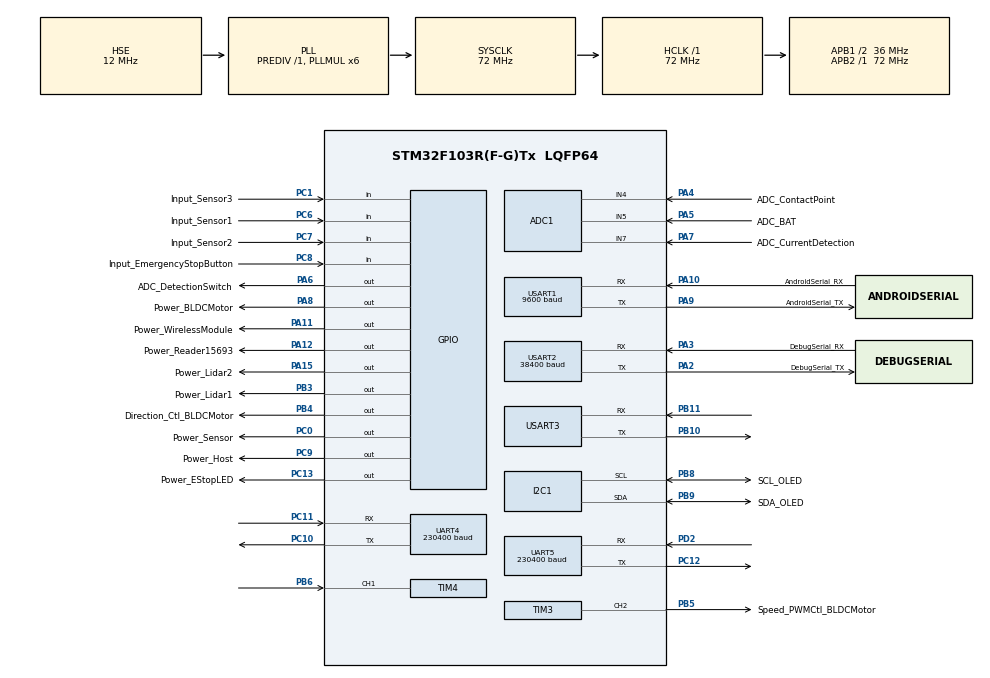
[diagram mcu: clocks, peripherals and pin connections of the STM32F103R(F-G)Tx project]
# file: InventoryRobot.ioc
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ADC1.Channel-1\#ChannelRegularConversion=ADC_CHANNEL_5
ADC1.NbrOfConversionFlag=1
ADC1.Rank-1\#ChannelRegularConversion=1
ADC1.SamplingTime-1\#ChannelRegularConversion=ADC_SAMPLETIME_1CYCLE_5
ADC1.master=1
Dma.Request0=USART1_RX
Dma.Request1=UART4_RX
Dma.Request2=USART2_RX
Dma.UART4_RX.1.Direction=DMA_PERIPH_TO_MEMORY
Dma.UART4_RX.1.Instance=DMA2_Channel3
Dma.UART4_RX.1.MemDataAlignment=DMA_MDATAALIGN_BYTE
Dma.UART4_RX.1.MemInc=DMA_MINC_ENABLE
Dma.UART4_RX.1.Mode=DMA_NORMAL
Dma.UART4_RX.1.PeriphDataAlignment=DMA_PDATAALIGN_BYTE
Dma.UART4_RX.1.PeriphInc=DMA_PINC_DISABLE
Dma.UART4_RX.1.Priority=DMA_PRIORITY_LOW
Dma.USART1_RX.0.Direction=DMA_PERIPH_TO_MEMORY
Dma.USART1_RX.0.Instance=DMA1_Channel5
Dma.USART1_RX.0.MemDataAlignment=DMA_MDATAALIGN_BYTE
Dma.USART1_RX.0.MemInc=DMA_MINC_ENABLE
Dma.USART1_RX.0.Mode=DMA_NORMAL
Dma.USART1_RX.0.PeriphDataAlignment=DMA_PDATAALIGN_BYTE
Dma.USART1_RX.0.PeriphInc=DMA_PINC_DISABLE
Dma.USART1_RX.0.Priority=DMA_PRIORITY_LOW
Dma.USART2_RX.2.Direction=DMA_PERIPH_TO_MEMORY
Dma.USART2_RX.2.Instance=DMA1_Channel6
Dma.USART2_RX.2.MemDataAlignment=DMA_MDATAALIGN_BYTE
Dma.USART2_RX.2.MemInc=DMA_MINC_ENABLE
Dma.USART2_RX.2.Mode=DMA_NORMAL
Dma.USART2_RX.2.PeriphDataAlignment=DMA_PDATAALIGN_BYTE
Dma.USART2_RX.2.PeriphInc=DMA_PINC_DISABLE
Dma.USART2_RX.2.Priority=DMA_PRIORITY_LOW
Mcu.Family=STM32F1
Mcu.Name=STM32F103R(F-G)Tx
Mcu.Package=LQFP64
NVIC.DMA1_Channel5_IRQn=true\:0\:0\:false\:false\:true\:false\:true\:true
NVIC.DMA1_Channel6_IRQn=true\:0\:0\:false\:false\:true\:false\:true\:true
NVIC.DMA2_Channel3_IRQn=true\:0\:0\:false\:false\:true\:false\:true\:true
NVIC.PriorityGroup=NVIC_PRIORITYGROUP_4
NVIC.TIM1_UP_TIM10_IRQn=true\:1\:0\:true\:false\:true\:true\:true\:true
NVIC.TIM3_IRQn=true\:0\:0\:false\:false\:true\:true\:true\:true
NVIC.TIM4_IRQn=true\:0\:0\:false\:false\:true\:true\:true\:true
NVIC.UART4_IRQn=true\:0\:0\:false\:false\:true\:true\:true\:true
NVIC.UART5_IRQn=true\:0\:0\:false\:false\:true\:true\:true\:true
NVIC.USART1_IRQn=true\:0\:0\:false\:false\:true\:true\:true\:true
NVIC.USART2_IRQn=true\:0\:0\:false\:false\:true\:true\:true\:true
NVIC.USART3_IRQn=true\:0\:0\:false\:false\:true\:true\:true\:true
PA10.GPIO_Label=AndroidSerial_RX
PA10.Mode=Asynchronous
PA10.Signal=USART1_RX
PA11.GPIO_Label=Power_WirelessModule
PA11.Signal=GPIO_Output
PA12.GPIO_Label=Power_Reader15693
PA12.PinState=GPIO_PIN_SET
PA12.Signal=GPIO_Output
PA13.Mode=Serial_Wire
PA13.Signal=SYS_JTMS-SWDIO
PA14.Mode=Serial_Wire
PA14.Signal=SYS_JTCK-SWCLK
PA15.GPIO_Label=Power_Lidar2
PA15.PinState=GPIO_PIN_SET
PA15.Signal=GPIO_Output
PA2.GPIO_Label=DebugSerial_TX
PA2.Mode=Asynchronous
PA2.Signal=USART2_TX
PA3.GPIO_Label=DebugSerial_RX
PA3.Mode=Asynchronous
PA3.Signal=USART2_RX
PA4.GPIO_Label=ADC_ContactPoint
PA4.Signal=ADCx_IN4
PA5.GPIO_Label=ADC_BAT
PA5.Signal=ADCx_IN5
PA6.GPIO_Label=ADC_DetectionSwitch
PA6.Signal=GPIO_Output
PA7.GPIO_Label=ADC_CurrentDetection
PA7.Signal=ADCx_IN7
PA8.GPIO_Label=Power_BLDCMotor
PA8.PinState=GPIO_PIN_RESET
PA8.Signal=GPIO_Output
PA9.GPIO_Label=AndroidSerial_TX
PA9.Mode=Asynchronous
PA9.Signal=USART1_TX
PB10.Mode=Asynchronous
PB10.Signal=USART3_TX
PB11.Mode=Asynchronous
PB11.Signal=USART3_RX
PB3.GPIO_Label=Power_Lidar1
PB3.Signal=GPIO_Output
PB4.GPIO_Label=Direction_Ctl_BLDCMotor
PB4.PinState=GPIO_PIN_RESET
PB4.Signal=GPIO_Output
PB5.GPIO_Label=Speed_PWMCtl_BLDCMotor
PB5.Signal=S_TIM3_CH2
PB6.Signal=S_TIM4_CH1
PB8.GPIO_Label=SCL_OLED
PB8.Mode=I2C
PB8.Signal=I2C1_SCL
PB9.GPIO_Label=SDA_OLED
PB9.Mode=I2C
PB9.Signal=I2C1_SDA
PC0.GPIO_Label=Power_Sensor
PC0.PinState=GPIO_PIN_SET
PC0.Signal=GPIO_Output
PC1.GPIO_Label=Input_Sensor3
PC1.Signal=GPIO_Input
PC10.Mode=Asynchronous
PC10.Signal=UART4_TX
PC11.Mode=Asynchronous
PC11.Signal=UART4_RX
PC12.Mode=Asynchronous
PC12.Signal=UART5_TX
PC13-TAMPER-RTC.GPIO_Label=Power_EStopLED
PC13-TAMPER-RTC.Signal=GPIO_Output
PC6.GPIO_Label=Input_Sensor1
PC6.Signal=GPIO_Input
PC7.GPIO_Label=Input_Sensor2
PC7.Signal=GPIO_Input
PC8.GPIO_Label=Input_EmergencyStopButton
PC8.Signal=GPIO_Input
PC9.GPIO_Label=Power_Host
PC9.Signal=GPIO_Output
PD0-OSC_IN.Mode=HSE-External-Oscillator
PD0-OSC_IN.Signal=RCC_OSC_IN
PD1-OSC_OUT.Mode=HSE-External-Oscillator
PD1-OSC_OUT.Signal=RCC_OSC_OUT
PD2.Mode=Asynchronous
PD2.Signal=UART5_RX
ProjectManager.HeapSize=0x200
ProjectManager.StackSize=0x400
ProjectManager.TargetToolchain=STM32CubeIDE
RCC.ADCPresc=RCC_ADCPCLK2_DIV6
RCC.AHBFreq_Value=72000000
RCC.APB1CLKDivider=RCC_HCLK_DIV2
RCC.APB1Freq_Value=36000000
RCC.APB1TimFreq_Value=72000000
RCC.APB2Freq_Value=72000000
RCC.APB2TimFreq_Value=72000000
RCC.HCLKFreq_Value=72000000
RCC.HSE_VALUE=12000000
RCC.PLLMUL=RCC_PLL_MUL6
RCC.PLLSourceVirtual=RCC_PLLSOURCE_HSE
RCC.SYSCLKFreq_VALUE=72000000
RCC.SYSCLKSource=RCC_SYSCLKSOURCE_PLLCLK
RCC.USBFreq_Value=72000000
SH.ADCx_IN4.0=ADC1_IN4,IN4
SH.ADCx_IN5.0=ADC1_IN5,IN5
SH.ADCx_IN7.0=ADC1_IN7,IN7
SH.S_TIM3_CH2.0=TIM3_CH2,PWM Generation2 CH2
SH.S_TIM4_CH1.0=TIM4_CH1,Input_Capture1_from_TI1
TIM1.AutoReloadPreload=TIM_AUTORELOAD_PRELOAD_ENABLE
TIM1.Period=1000-1
TIM1.Prescaler=72-1
TIM3.Channel-PWM\ Generation2\ CH2=TIM_CHANNEL_2
TIM3.Period=10-1
TIM3.Prescaler=7200-1
TIM4.AutoReloadPreload=TIM_AUTORELOAD_PRELOAD_ENABLE
TIM4.Channel-Input_Capture1_from_TI1=TIM_CHANNEL_1
TIM4.Period=10000-1
TIM4.Prescaler=72-1
UART4.BaudRate=230400
UART4.VirtualMode=Asynchronous
UART5.BaudRate=230400
UART5.VirtualMode=Asynchronous
USART1.BaudRate=9600
USART1.VirtualMode=VM_ASYNC
USART2.BaudRate=38400
USART2.VirtualMode=VM_ASYNC
USART3.VirtualMode=VM_ASYNC
VP_TIM1_VS_ClockSourceINT.Mode=Internal
VP_TIM4_VS_ClockSourceINT.Mode=Internal
board=custom

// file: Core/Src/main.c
/* USER CODE BEGIN Header */
/**
 ******************************************************************************
 * @file           : main.c
 * @brief          : Main program body
 ******************************************************************************
 * @attention
 *
 * Copyright (c) 2024 STMicroelectronics.
 * All rights reserved.
 *
 * This software is licensed under terms that can be found in the LICENSE file
 * in the root directory of this software component.
 * If no LICENSE file comes with this software, it is provided AS-IS.
 *
 ******************************************************************************
 */
/* USER CODE END Header */
#include "main.h"

#include "adc.h"
#include "dma.h"
#include "gpio.h"
#include "i2c.h"
#include "tim.h"
#include "usart.h"

/* USER CODE BEGIN Includes */
#include "component/cmd_process/cmd_process.h"
#include "component/endianness_change.h"
#include "log/my_log.h"
#include "module_driver/driver_motor.h"
#include "module_driver/driver_upp_uart.h"
#include "module_driver/driver_wireless.h"
#include "module_middle/middle_event_process.h"
#include "tick/tick.h"
/* USER CODE END Includes */

void SystemClock_Config(void);

/* USER CODE BEGIN 0 */
typedef enum {
  kWirelessStop  = 0x00,
  kWirelessStart = 0x01,
  kBook          = 0x02,
  kWirelessIdle  = 0xff,
} ENUM_CMD;

uint32_t cmd;

static uint8_t  pandian_flag;
static uint32_t pandian_time;

static uint8_t data_book;
static uint8_t flag;

static ENUM_CMD move_state      = kWirelessIdle;
static uint32_t distance_target = 300;

static uint8_t  crc_cal[] = {0xd0, 0x20, 0x01, 0x0a, 0x0f, 0x00, 0x00, 0x00, 0x00, 0x00, 0x00, 0x00, 0x00, 0x00, 0x00, 0x0C, 0xA1, 0xd1};
uint16_t        test_1    = 0x1234;
uint32_t        test_2    = 0x12345678;
static uint16_t CRC16_Calculate(uint8_t *data, uint8_t len) {
  uint16_t crc16 = 0xffff;
  uint16_t temp  = 0;
  for (int i = 0; i < len; i++) {
    crc16 ^= (uint16_t)data[i];
    for (int j = 0; j < 8; j++) {
      if (crc16 & 0x0001) {
        crc16 = (crc16 >> 1) ^ 0xa001;
      } else {
        crc16 = (crc16 >> 1);
      }
    }
  }
  LOGI("CRC is :%04x", crc16);
  return crc16;
}

/* USER CODE END 0 */

int main(void) {

  /* MCU Configuration--------------------------------------------------------*/

  /* Reset of all peripherals, Initializes the Flash interface and the Systick. */
  HAL_Init();

  /* Configure the system clock */
  SystemClock_Config();

  /* Initialize all configured peripherals */
  MX_GPIO_Init();
  MX_DMA_Init();
  MX_UART4_Init();
  MX_UART5_Init();
  MX_USART1_UART_Init();
  MX_USART2_UART_Init();
  MX_USART3_UART_Init();
  MX_ADC1_Init();
  MX_I2C1_Init();
  MX_TIM4_Init();
  MX_TIM1_Init();
  MX_TIM3_Init();
  /* USER CODE BEGIN 2 */
  wireless_reg_handle(&huart1, &hdma_usart1_rx);
  wireless_init();

  upper_uart_reg_handle(&huart4, &hdma_uart4_rx);
  upper_uart_init();

  motor_uart_init();

  servo_config_init();

  app_communicate_init();
  app_servo_action_init();
  // servo_info_updata(KGoRight, 30);
  /* USER CODE END 2 */

  /* Infinite loop */
  /* USER CODE BEGIN WHILE */
  while (1) {
    process_event();

    Events_MainLogic();

    app_comunicate();
    app_action();
    // if (GetMoterFlag() >= 22) {
    //   app_comunicate();
    //   if ((get_action_mode() == 0x01) && !pandian_flag) {
    //     LOGE("TEST");
    //     switch (move_state) {
    //       case kWirelessIdle:
    //         move_state = kWirelessStart;
    //         break;
    //       case kWirelessStart:
    //         if (servo_move(KGoRight)) {
    //           servo_info_updata(KGoRight, 30);
    //           pandian_flag = 1;
    //         }
    //         break;
    //     }
    //   }

    //   switch (pandian_flag) {
    //     case 1:
    //       uint16_t pos1    = get_Position_mm(GetMoterStateReg(), 4);
    //       uint16_t pos_tar = get_servo_config_pos();
    //       uint8_t  tmp     = pos_tar;
    //       // pos_tar >>= 8;
    //       // pos_tar |= ((uint16_t)tmp) << 8;
    //       LOGI("pos_tar3 is :%04x", pos_tar);
    //       LOGI("cur pos is %04x", pos1);
    //       if (pos1 >= pos_tar - 10 && pos1 <= pos_tar + 100 && pos1 != 0xff) {
    //         pandian_flag = 2;
    //         LOGI("check finish %d", pandian_flag);
    //       }
    //       break;
    //     case 2:
    //       if (servo_speed_set(0)) {
    //         pandian_flag = 25;
    //         LOGI("Back %d ", pandian_flag);
    //       }

    //       break;
    //     case 3:
    //       if (servo_move(KGoLeft)) {
    //         servo_info_updata(KGoLeft, 30);
    //         pandian_flag = 4;

    //         LOGI("Back move %d", pandian_flag);
    //       }

    //       break;
    //     case 4:
    //       uint16_t pos = get_Position_mm(GetMoterStateReg(), 4);
    //       if (pos <= distance_target - 100 && pos != 0) {
    //         pandian_flag = 5;
    //         LOGI("back finish %d", pandian_flag);
    //       }
    //       break;
    //     case 5:
    //       if (servo_speed_set(0)) {
    //         pandian_flag = 6;
    //         LOGI("OK %d ", pandian_flag);
    //       }

    //       break;
    //     default:

    //       break;
    // }

    /* USER CODE END WHILE */

    /* USER CODE BEGIN 3 */
    // }
    /* USER CODE END 3 */
  }
}
void SystemClock_Config(void) {
  RCC_OscInitTypeDef       RCC_OscInitStruct = {0};
  RCC_ClkInitTypeDef       RCC_ClkInitStruct = {0};
  RCC_PeriphCLKInitTypeDef PeriphClkInit     = {0};

  /** Initializes the RCC Oscillators according to the specified parameters
   * in the RCC_OscInitTypeDef structure.
   */
  RCC_OscInitStruct.OscillatorType = RCC_OSCILLATORTYPE_HSE;
  RCC_OscInitStruct.HSEState       = RCC_HSE_ON;
  RCC_OscInitStruct.HSEPredivValue = RCC_HSE_PREDIV_DIV1;
  RCC_OscInitStruct.HSIState       = RCC_HSI_ON;
  RCC_OscInitStruct.PLL.PLLState   = RCC_PLL_ON;
  RCC_OscInitStruct.PLL.PLLSource  = RCC_PLLSOURCE_HSE;
  RCC_OscInitStruct.PLL.PLLMUL     = RCC_PLL_MUL6;
  if (HAL_RCC_OscConfig(&RCC_OscInitStruct) != HAL_OK) {
    Error_Handler();
  }

  /** Initializes the CPU, AHB and APB buses clocks
   */
  RCC_ClkInitStruct.ClockType      = RCC_CLOCKTYPE_HCLK | RCC_CLOCKTYPE_SYSCLK | RCC_CLOCKTYPE_PCLK1 | RCC_CLOCKTYPE_PCLK2;
  RCC_ClkInitStruct.SYSCLKSource   = RCC_SYSCLKSOURCE_PLLCLK;
  RCC_ClkInitStruct.AHBCLKDivider  = RCC_SYSCLK_DIV1;
  RCC_ClkInitStruct.APB1CLKDivider = RCC_HCLK_DIV2;
  RCC_ClkInitStruct.APB2CLKDivider = RCC_HCLK_DIV1;

  if (HAL_RCC_ClockConfig(&RCC_ClkInitStruct, FLASH_LATENCY_2) != HAL_OK) {
    Error_Handler();
  }
  PeriphClkInit.PeriphClockSelection = RCC_PERIPHCLK_ADC;
  PeriphClkInit.AdcClockSelection    = RCC_ADCPCLK2_DIV6;
  if (HAL_RCCEx_PeriphCLKConfig(&PeriphClkInit) != HAL_OK) {
    Error_Handler();
  }
}

void Error_Handler(void) {
  __disable_irq();
  while (1) {
  }
}
